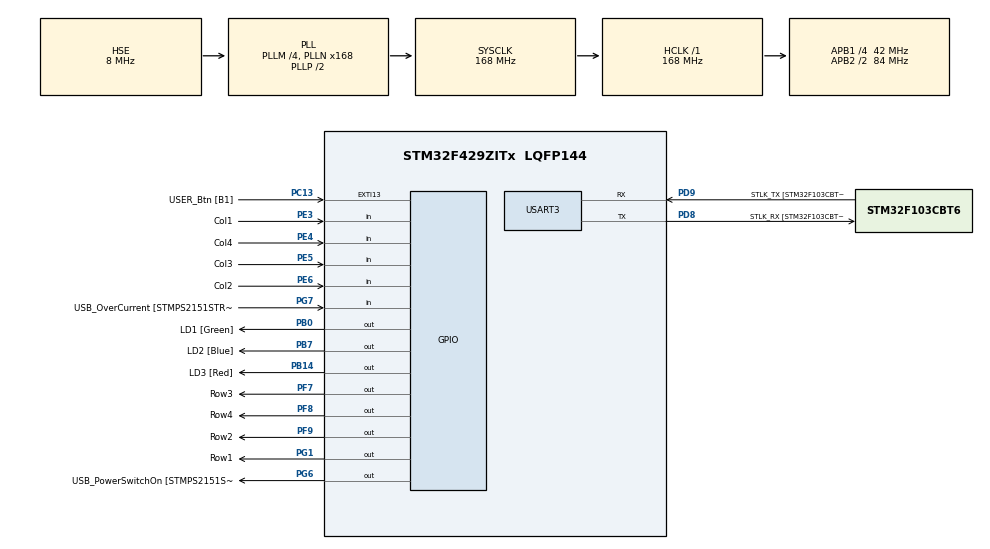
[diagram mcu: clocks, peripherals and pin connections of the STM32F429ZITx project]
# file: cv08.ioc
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Mcu.Family=STM32F4
Mcu.Name=STM32F429ZITx
Mcu.Package=LQFP144
NVIC.PriorityGroup=NVIC_PRIORITYGROUP_4
NVIC.TIM3_IRQn=true\:0\:0\:false\:false\:true\:true\:true
PA1.GPIO_Label=RMII_REF_CLK [LAN8742A-CZ-TR_REFCLK0]
PA1.Signal=ETH_REF_CLK
PA10.GPIO_Label=USB_ID
PA10.Signal=USB_OTG_FS_ID
PA11.GPIO_Label=USB_DM
PA11.Signal=USB_OTG_FS_DM
PA12.GPIO_Label=USB_DP
PA12.Signal=USB_OTG_FS_DP
PA13.GPIO_Label=TMS
PA13.Mode=Serial_Wire
PA13.Signal=SYS_JTMS-SWDIO
PA14.GPIO_Label=TCK
PA14.Mode=Serial_Wire
PA14.Signal=SYS_JTCK-SWCLK
PA2.GPIO_Label=RMII_MDIO [LAN8742A-CZ-TR_MDIO]
PA2.Signal=ETH_MDIO
PA7.GPIO_Label=RMII_CRS_DV [LAN8742A-CZ-TR_CRS_DV]
PA7.Signal=ETH_CRS_DV
PA8.GPIO_Label=USB_SOF [TP1]
PA8.Signal=USB_OTG_FS_SOF
PA9.GPIO_Label=USB_VBUS
PA9.Signal=USB_OTG_FS_VBUS
PB0.GPIO_Label=LD1 [Green]
PB0.Signal=GPIO_Output
PB13.GPIO_Label=RMII_TXD1 [LAN8742A-CZ-TR_TXD1]
PB13.Signal=ETH_TXD1
PB14.GPIO_Label=LD3 [Red]
PB14.Signal=GPIO_Output
PB7.GPIO_Label=LD2 [Blue]
PB7.Signal=GPIO_Output
PC1.GPIO_Label=RMII_MDC [LAN8742A-CZ-TR_MDC]
PC1.Signal=ETH_MDC
PC13.GPIO_Label=USER_Btn [B1]
PC13.Signal=GPXTI13
PC14/OSC32_IN.Mode=LSE-External-Oscillator
PC14/OSC32_IN.Signal=RCC_OSC32_IN
PC15/OSC32_OUT.Mode=LSE-External-Oscillator
PC15/OSC32_OUT.Signal=RCC_OSC32_OUT
PC4.GPIO_Label=RMII_RXD0 [LAN8742A-CZ-TR_RXD0]
PC4.Signal=ETH_RXD0
PC5.GPIO_Label=RMII_RXD1 [LAN8742A-CZ-TR_RXD1]
PC5.Signal=ETH_RXD1
PD8.GPIO_Label=STLK_RX [STM32F103CBT6_PA3]
PD8.Mode=Asynchronous
PD8.Signal=USART3_TX
PD9.GPIO_Label=STLK_TX [STM32F103CBT6_PA2]
PD9.Mode=Asynchronous
PD9.Signal=USART3_RX
PE3.GPIO_Label=Col1
PE3.GPIO_PuPd=GPIO_PULLUP
PE3.Signal=GPIO_Input
PE4.GPIO_Label=Col4
PE4.GPIO_PuPd=GPIO_PULLUP
PE4.Signal=GPIO_Input
PE5.GPIO_Label=Col3
PE5.GPIO_PuPd=GPIO_PULLUP
PE5.Signal=GPIO_Input
PE6.GPIO_Label=Col2
PE6.GPIO_PuPd=GPIO_PULLUP
PE6.Signal=GPIO_Input
PF7.GPIO_Label=Row3
PF7.GPIO_ModeDefaultOutputPP=GPIO_MODE_OUTPUT_OD
PF7.Signal=GPIO_Output
PF8.GPIO_Label=Row4
PF8.GPIO_ModeDefaultOutputPP=GPIO_MODE_OUTPUT_OD
PF8.Signal=GPIO_Output
PF9.GPIO_Label=Row2
PF9.GPIO_ModeDefaultOutputPP=GPIO_MODE_OUTPUT_OD
PF9.Signal=GPIO_Output
PG1.GPIO_Label=Row1
PG1.GPIO_ModeDefaultOutputPP=GPIO_MODE_OUTPUT_OD
PG1.Signal=GPIO_Output
PG11.GPIO_Label=RMII_TX_EN [LAN8742A-CZ-TR_TXEN]
PG11.Signal=ETH_TX_EN
PG13.GPIO_Label=RMII_TXD0 [LAN8742A-CZ-TR_TXD0]
PG13.Signal=ETH_TXD0
PG6.GPIO_Label=USB_PowerSwitchOn [STMPS2151STR_EN]
PG6.Signal=GPIO_Output
PG7.GPIO_Label=USB_OverCurrent [STMPS2151STR_FAULT]
PG7.Signal=GPIO_Input
PH0/OSC_IN.GPIO_Label=MCO [STM32F103CBT6_PA8]
PH0/OSC_IN.Mode=HSE-External-Clock-Source
PH0/OSC_IN.Signal=RCC_OSC_IN
PH1/OSC_OUT.Mode=HSE-External-Clock-Source
PH1/OSC_OUT.Signal=RCC_OSC_OUT
ProjectManager.HeapSize=0x200
ProjectManager.StackSize=0x400
ProjectManager.TargetToolchain=STM32CubeIDE
RCC.48MHZClocksFreq_Value=48000000
RCC.AHBFreq_Value=168000000
RCC.APB1CLKDivider=RCC_HCLK_DIV4
RCC.APB1Freq_Value=42000000
RCC.APB1TimFreq_Value=84000000
RCC.APB2CLKDivider=RCC_HCLK_DIV2
RCC.APB2Freq_Value=84000000
RCC.APB2TimCLKDivider=2
RCC.APB2TimFreq_Value=168000000
RCC.CortexFreq_Value=168000000
RCC.HCLKFreq_Value=168000000
RCC.HSE_VALUE=8000000
RCC.HSI_VALUE=16000000
RCC.PLLM=4
RCC.PLLMUL=RCC_PLL_MUL9
RCC.PLLN=168
RCC.PLLQ=7
RCC.PLLSourceVirtual=RCC_PLLSOURCE_HSE
RCC.PRESCALERUSB=RCC_USBCLKSOURCE_PLL_DIV1_5
RCC.SYSCLKFreq_VALUE=168000000
RCC.SYSCLKSource=RCC_SYSCLKSOURCE_PLLCLK
RCC.SYSCLKSourceVirtual=RCC_SYSCLKSOURCE_PLLCLK
RCC.USBFreq_Value=48000000
RCC.VCOOutputFreq_Value=336000000
TIM3.AutoReloadPreload=TIM_AUTORELOAD_PRELOAD_ENABLE
TIM3.Period=99
TIM3.Prescaler=8399
USART3.VirtualMode=VM_ASYNC
VP_TIM3_VS_ClockSourceINT.Mode=Internal
board=NUCLEO-F429ZI

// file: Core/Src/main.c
/* USER CODE BEGIN Header */
/**
  ******************************************************************************
  * @file           : main.c
  * @brief          : Main program body
  ******************************************************************************
  * @attention
  *
  * <h2><center>&copy; Copyright (c) 2021 STMicroelectronics.
  * All rights reserved.</center></h2>
  *
  * This software component is licensed by ST under BSD 3-Clause license,
  * the "License"; You may not use this file except in compliance with the
  * License. You may obtain a copy of the License at:
  *                        opensource.org/licenses/BSD-3-Clause
  *
  ******************************************************************************
  */
/* USER CODE END Header */
#include "main.h"

/* USER CODE BEGIN Includes */
#include <stdio.h>
/* USER CODE END Includes */

/* USER CODE BEGIN PD */
#define TIMEOUT 3000
/* USER CODE END PD */

TIM_HandleTypeDef htim3;

UART_HandleTypeDef huart3;

/* USER CODE BEGIN PV */
static volatile int8_t key = -1;
/* USER CODE END PV */

void SystemClock_Config(void);
static void MX_GPIO_Init(void);
static void MX_USART3_UART_Init(void);
static void MX_TIM3_Init(void);

/* USER CODE BEGIN 0 */
int __io_putchar(int ch)
{
	ITM_SendChar(ch);
	return 0;
}

/* USER CODE END 0 */

int main(void)
{

  /* MCU Configuration--------------------------------------------------------*/

  /* Reset of all peripherals, Initializes the Flash interface and the Systick. */
  HAL_Init();

  /* Configure the system clock */
  SystemClock_Config();

  /* Initialize all configured peripherals */
  MX_GPIO_Init();
  MX_USART3_UART_Init();
  MX_TIM3_Init();
  /* USER CODE BEGIN 2 */
  HAL_TIM_Base_Start_IT(&htim3);

  const int8_t code[5] = { 7, 9, 3, 2, 12 };
  int8_t pos = 0;
  uint32_t time = HAL_GetTick();
  /* USER CODE END 2 */

  /* Infinite loop */
  while (1)
  {

    /* USER CODE BEGIN 3 */
	  //HAL_GPIO_TogglePin(LD1_GPIO_Port, LD1_Pin);
	  //HAL_Delay(250);

	  if (key != -1)
	  {
		  time = HAL_GetTick();
		  printf("key: %d\n", key);

		  if (key == code[pos]) pos++;
		  if (pos >= sizeof(code) / sizeof(code[0]))
		  {
			  HAL_GPIO_WritePin(LD1_GPIO_Port, LD1_Pin, GPIO_PIN_SET);
			  printf("SUCCESS\n");
		  }

		  HAL_Delay(200);
		  key = -1;
	  }

	  if (pos != 0 && HAL_GetTick() - time >= TIMEOUT)
	  {
		  pos = 0;
		  HAL_GPIO_WritePin(LD1_GPIO_Port, LD1_Pin, GPIO_PIN_RESET);
		  printf("TIMEOUT\n");
	  }

  }
  /* USER CODE END 3 */
}

void SystemClock_Config(void)
{
  RCC_OscInitTypeDef RCC_OscInitStruct = {0};
  RCC_ClkInitTypeDef RCC_ClkInitStruct = {0};

  /** Configure the main internal regulator output voltage
  */
  __HAL_RCC_PWR_CLK_ENABLE();
  __HAL_PWR_VOLTAGESCALING_CONFIG(PWR_REGULATOR_VOLTAGE_SCALE1);
  /** Initializes the RCC Oscillators according to the specified parameters
  * in the RCC_OscInitTypeDef structure.
  */
  RCC_OscInitStruct.OscillatorType = RCC_OSCILLATORTYPE_HSE;
  RCC_OscInitStruct.HSEState = RCC_HSE_BYPASS;
  RCC_OscInitStruct.PLL.PLLState = RCC_PLL_ON;
  RCC_OscInitStruct.PLL.PLLSource = RCC_PLLSOURCE_HSE;
  RCC_OscInitStruct.PLL.PLLM = 4;
  RCC_OscInitStruct.PLL.PLLN = 168;
  RCC_OscInitStruct.PLL.PLLP = RCC_PLLP_DIV2;
  RCC_OscInitStruct.PLL.PLLQ = 7;
  if (HAL_RCC_OscConfig(&RCC_OscInitStruct) != HAL_OK)
  {
    Error_Handler();
  }
  /** Initializes the CPU, AHB and APB buses clocks
  */
  RCC_ClkInitStruct.ClockType = RCC_CLOCKTYPE_HCLK|RCC_CLOCKTYPE_SYSCLK
                              |RCC_CLOCKTYPE_PCLK1|RCC_CLOCKTYPE_PCLK2;
  RCC_ClkInitStruct.SYSCLKSource = RCC_SYSCLKSOURCE_PLLCLK;
  RCC_ClkInitStruct.AHBCLKDivider = RCC_SYSCLK_DIV1;
  RCC_ClkInitStruct.APB1CLKDivider = RCC_HCLK_DIV4;
  RCC_ClkInitStruct.APB2CLKDivider = RCC_HCLK_DIV2;

  if (HAL_RCC_ClockConfig(&RCC_ClkInitStruct, FLASH_LATENCY_5) != HAL_OK)
  {
    Error_Handler();
  }
}

static void MX_TIM3_Init(void)
{

  TIM_ClockConfigTypeDef sClockSourceConfig = {0};
  TIM_MasterConfigTypeDef sMasterConfig = {0};

  htim3.Instance = TIM3;
  htim3.Init.Prescaler = 8399;
  htim3.Init.CounterMode = TIM_COUNTERMODE_UP;
  htim3.Init.Period = 99;
  htim3.Init.ClockDivision = TIM_CLOCKDIVISION_DIV1;
  htim3.Init.AutoReloadPreload = TIM_AUTORELOAD_PRELOAD_ENABLE;
  if (HAL_TIM_Base_Init(&htim3) != HAL_OK)
  {
    Error_Handler();
  }
  sClockSourceConfig.ClockSource = TIM_CLOCKSOURCE_INTERNAL;
  if (HAL_TIM_ConfigClockSource(&htim3, &sClockSourceConfig) != HAL_OK)
  {
    Error_Handler();
  }
  sMasterConfig.MasterOutputTrigger = TIM_TRGO_RESET;
  sMasterConfig.MasterSlaveMode = TIM_MASTERSLAVEMODE_DISABLE;
  if (HAL_TIMEx_MasterConfigSynchronization(&htim3, &sMasterConfig) != HAL_OK)
  {
    Error_Handler();
  }

}

static void MX_USART3_UART_Init(void)
{

  huart3.Instance = USART3;
  huart3.Init.BaudRate = 115200;
  huart3.Init.WordLength = UART_WORDLENGTH_8B;
  huart3.Init.StopBits = UART_STOPBITS_1;
  huart3.Init.Parity = UART_PARITY_NONE;
  huart3.Init.Mode = UART_MODE_TX_RX;
  huart3.Init.HwFlowCtl = UART_HWCONTROL_NONE;
  huart3.Init.OverSampling = UART_OVERSAMPLING_16;
  if (HAL_UART_Init(&huart3) != HAL_OK)
  {
    Error_Handler();
  }

}

static void MX_GPIO_Init(void)
{
  GPIO_InitTypeDef GPIO_InitStruct = {0};

  /* GPIO Ports Clock Enable */
  __HAL_RCC_GPIOE_CLK_ENABLE();
  __HAL_RCC_GPIOC_CLK_ENABLE();
  __HAL_RCC_GPIOF_CLK_ENABLE();
  __HAL_RCC_GPIOH_CLK_ENABLE();
  __HAL_RCC_GPIOA_CLK_ENABLE();
  __HAL_RCC_GPIOB_CLK_ENABLE();
  __HAL_RCC_GPIOG_CLK_ENABLE();
  __HAL_RCC_GPIOD_CLK_ENABLE();

  /*Configure GPIO pin Output Level */
  HAL_GPIO_WritePin(GPIOF, Row3_Pin|Row4_Pin|Row2_Pin, GPIO_PIN_RESET);

  /*Configure GPIO pin Output Level */
  HAL_GPIO_WritePin(GPIOB, LD1_Pin|LD3_Pin|LD2_Pin, GPIO_PIN_RESET);

  /*Configure GPIO pin Output Level */
  HAL_GPIO_WritePin(GPIOG, Row1_Pin|USB_PowerSwitchOn_Pin, GPIO_PIN_RESET);

  /*Configure GPIO pins : Col1_Pin Col4_Pin Col3_Pin Col2_Pin */
  GPIO_InitStruct.Pin = Col1_Pin|Col4_Pin|Col3_Pin|Col2_Pin;
  GPIO_InitStruct.Mode = GPIO_MODE_INPUT;
  GPIO_InitStruct.Pull = GPIO_PULLUP;
  HAL_GPIO_Init(GPIOE, &GPIO_InitStruct);

  /*Configure GPIO pin : USER_Btn_Pin */
  GPIO_InitStruct.Pin = USER_Btn_Pin;
  GPIO_InitStruct.Mode = GPIO_MODE_IT_RISING;
  GPIO_InitStruct.Pull = GPIO_NOPULL;
  HAL_GPIO_Init(USER_Btn_GPIO_Port, &GPIO_InitStruct);

  /*Configure GPIO pins : Row3_Pin Row4_Pin Row2_Pin */
  GPIO_InitStruct.Pin = Row3_Pin|Row4_Pin|Row2_Pin;
  GPIO_InitStruct.Mode = GPIO_MODE_OUTPUT_OD;
  GPIO_InitStruct.Pull = GPIO_NOPULL;
  GPIO_InitStruct.Speed = GPIO_SPEED_FREQ_LOW;
  HAL_GPIO_Init(GPIOF, &GPIO_InitStruct);

  /*Configure GPIO pins : RMII_MDC_Pin RMII_RXD0_Pin RMII_RXD1_Pin */
  GPIO_InitStruct.Pin = RMII_MDC_Pin|RMII_RXD0_Pin|RMII_RXD1_Pin;
  GPIO_InitStruct.Mode = GPIO_MODE_AF_PP;
  GPIO_InitStruct.Pull = GPIO_NOPULL;
  GPIO_InitStruct.Speed = GPIO_SPEED_FREQ_VERY_HIGH;
  GPIO_InitStruct.Alternate = GPIO_AF11_ETH;
  HAL_GPIO_Init(GPIOC, &GPIO_InitStruct);

  /*Configure GPIO pins : RMII_REF_CLK_Pin RMII_MDIO_Pin RMII_CRS_DV_Pin */
  GPIO_InitStruct.Pin = RMII_REF_CLK_Pin|RMII_MDIO_Pin|RMII_CRS_DV_Pin;
  GPIO_InitStruct.Mode = GPIO_MODE_AF_PP;
  GPIO_InitStruct.Pull = GPIO_NOPULL;
  GPIO_InitStruct.Speed = GPIO_SPEED_FREQ_VERY_HIGH;
  GPIO_InitStruct.Alternate = GPIO_AF11_ETH;
  HAL_GPIO_Init(GPIOA, &GPIO_InitStruct);

  /*Configure GPIO pins : LD1_Pin LD3_Pin LD2_Pin */
  GPIO_InitStruct.Pin = LD1_Pin|LD3_Pin|LD2_Pin;
  GPIO_InitStruct.Mode = GPIO_MODE_OUTPUT_PP;
  GPIO_InitStruct.Pull = GPIO_NOPULL;
  GPIO_InitStruct.Speed = GPIO_SPEED_FREQ_LOW;
  HAL_GPIO_Init(GPIOB, &GPIO_InitStruct);

  /*Configure GPIO pin : Row1_Pin */
  GPIO_InitStruct.Pin = Row1_Pin;
  GPIO_InitStruct.Mode = GPIO_MODE_OUTPUT_OD;
  GPIO_InitStruct.Pull = GPIO_NOPULL;
  GPIO_InitStruct.Speed = GPIO_SPEED_FREQ_LOW;
  HAL_GPIO_Init(Row1_GPIO_Port, &GPIO_InitStruct);

  /*Configure GPIO pin : RMII_TXD1_Pin */
  GPIO_InitStruct.Pin = RMII_TXD1_Pin;
  GPIO_InitStruct.Mode = GPIO_MODE_AF_PP;
  GPIO_InitStruct.Pull = GPIO_NOPULL;
  GPIO_InitStruct.Speed = GPIO_SPEED_FREQ_VERY_HIGH;
  GPIO_InitStruct.Alternate = GPIO_AF11_ETH;
  HAL_GPIO_Init(RMII_TXD1_GPIO_Port, &GPIO_InitStruct);

  /*Configure GPIO pin : USB_PowerSwitchOn_Pin */
  GPIO_InitStruct.Pin = USB_PowerSwitchOn_Pin;
  GPIO_InitStruct.Mode = GPIO_MODE_OUTPUT_PP;
  GPIO_InitStruct.Pull = GPIO_NOPULL;
  GPIO_InitStruct.Speed = GPIO_SPEED_FREQ_LOW;
  HAL_GPIO_Init(USB_PowerSwitchOn_GPIO_Port, &GPIO_InitStruct);

  /*Configure GPIO pin : USB_OverCurrent_Pin */
  GPIO_InitStruct.Pin = USB_OverCurrent_Pin;
  GPIO_InitStruct.Mode = GPIO_MODE_INPUT;
  GPIO_InitStruct.Pull = GPIO_NOPULL;
  HAL_GPIO_Init(USB_OverCurrent_GPIO_Port, &GPIO_InitStruct);

  /*Configure GPIO pins : USB_SOF_Pin USB_ID_Pin USB_DM_Pin USB_DP_Pin */
  GPIO_InitStruct.Pin = USB_SOF_Pin|USB_ID_Pin|USB_DM_Pin|USB_DP_Pin;
  GPIO_InitStruct.Mode = GPIO_MODE_AF_PP;
  GPIO_InitStruct.Pull = GPIO_NOPULL;
  GPIO_InitStruct.Speed = GPIO_SPEED_FREQ_VERY_HIGH;
  GPIO_InitStruct.Alternate = GPIO_AF10_OTG_FS;
  HAL_GPIO_Init(GPIOA, &GPIO_InitStruct);

  /*Configure GPIO pin : USB_VBUS_Pin */
  GPIO_InitStruct.Pin = USB_VBUS_Pin;
  GPIO_InitStruct.Mode = GPIO_MODE_INPUT;
  GPIO_InitStruct.Pull = GPIO_NOPULL;
  HAL_GPIO_Init(USB_VBUS_GPIO_Port, &GPIO_InitStruct);

  /*Configure GPIO pins : RMII_TX_EN_Pin RMII_TXD0_Pin */
  GPIO_InitStruct.Pin = RMII_TX_EN_Pin|RMII_TXD0_Pin;
  GPIO_InitStruct.Mode = GPIO_MODE_AF_PP;
  GPIO_InitStruct.Pull = GPIO_NOPULL;
  GPIO_InitStruct.Speed = GPIO_SPEED_FREQ_VERY_HIGH;
  GPIO_InitStruct.Alternate = GPIO_AF11_ETH;
  HAL_GPIO_Init(GPIOG, &GPIO_InitStruct);

}

/* USER CODE BEGIN 4 */
void HAL_TIM_PeriodElapsedCallback(TIM_HandleTypeDef *htim)
{
	static int row = 0;
	static const int keyboard[4][4] = {
			{ 1, 2, 3, 21 },
			{ 4, 5, 6, 22 },
			{ 7, 8, 9, 23 },
			{ 11, 0, 12, 24 },
	};

	if (key == -1) {
		if (HAL_GPIO_ReadPin(Col1_GPIO_Port, Col1_Pin) == GPIO_PIN_RESET) key = keyboard[row][0];
		if (HAL_GPIO_ReadPin(Col2_GPIO_Port, Col2_Pin) == GPIO_PIN_RESET) key = keyboard[row][1];
		if (HAL_GPIO_ReadPin(Col3_GPIO_Port, Col3_Pin) == GPIO_PIN_RESET) key = keyboard[row][2];
		if (HAL_GPIO_ReadPin(Col4_GPIO_Port, Col4_Pin) == GPIO_PIN_RESET) key = keyboard[row][3];
	}

	HAL_GPIO_WritePin(Row1_GPIO_Port, Row1_Pin, GPIO_PIN_SET);
	HAL_GPIO_WritePin(Row2_GPIO_Port, Row2_Pin, GPIO_PIN_SET);
	HAL_GPIO_WritePin(Row3_GPIO_Port, Row3_Pin, GPIO_PIN_SET);
	HAL_GPIO_WritePin(Row4_GPIO_Port, Row4_Pin, GPIO_PIN_SET);

	switch (row) {
	case 0: row = 1; HAL_GPIO_WritePin(Row2_GPIO_Port, Row2_Pin, GPIO_PIN_RESET); break;
	case 1: row = 2; HAL_GPIO_WritePin(Row3_GPIO_Port, Row3_Pin, GPIO_PIN_RESET); break;
	case 2: row = 3; HAL_GPIO_WritePin(Row4_GPIO_Port, Row4_Pin, GPIO_PIN_RESET); break;
	case 3: row = 0; HAL_GPIO_WritePin(Row1_GPIO_Port, Row1_Pin, GPIO_PIN_RESET); break;
	}
}

/* USER CODE END 4 */

void Error_Handler(void)
{
  __disable_irq();
  while (1)
  {
  }
}

/************************ (C) COPYRIGHT STMicroelectronics *****END OF FILE****/
